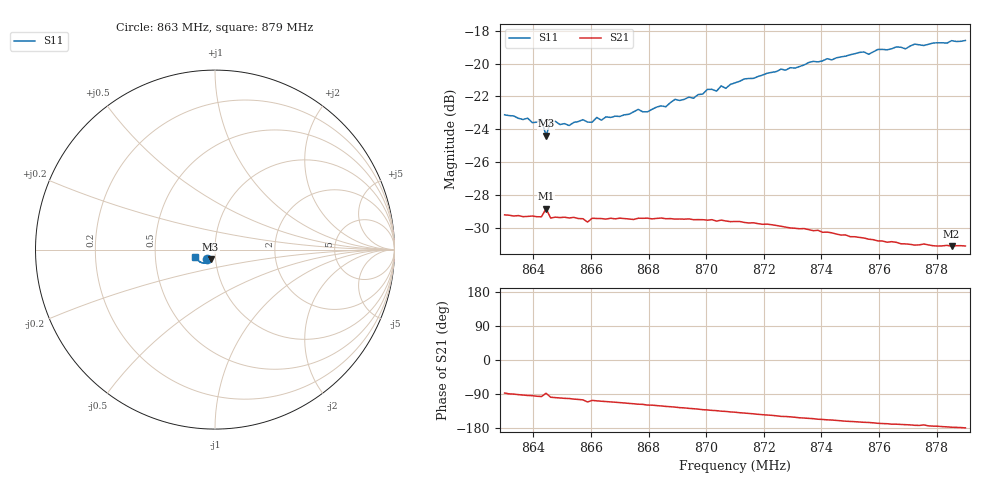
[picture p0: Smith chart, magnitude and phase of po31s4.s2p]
# HZ S RI R 50
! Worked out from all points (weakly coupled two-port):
!   101 points, 863 MHz to 879 MHz, reference 50 ohm
!   highest |S21| = -28.85 dB at 864.44 MHz (marker M1); lowest = -31.1 dB at 878.52 MHz (marker M2)
!   lowest |S11| = -24.4 dB at 864.44 MHz (marker M3), VSWR 1.13, Z = 47.3 - j5.22 ohm
!   |S11| at or under -10 dB: start of sweep to end of sweep
!   S12 and S22 are empty: the file has one direction only
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8.63e8  -0.0437 -0.0545  0.00169 -0.0345  0 0  0 0
8.638e8  -0.0422 -0.0536  -0.00213 -0.0341  0 0  0 0
8.6396e8  -0.0401 -0.0526  -0.00245 -0.0342  0 0  0 0
8.6428e8  -0.0392 -0.055  -0.00378 -0.0339  0 0  0 0
8.6444e8  -0.0247 -0.055  0.00138 -0.0361  0 0  0 0
8.646e8  -0.0378 -0.0549  -0.00487 -0.0335  0 0  0 0
8.6524e8  -0.0354 -0.0542  -0.00681 -0.0331  0 0  0 0
8.6572e8  -0.0359 -0.0571  -0.00881 -0.0325  0 0  0 0
8.6588e8  -0.0346 -0.0566  -0.0116 -0.0307  0 0  0 0
8.6604e8  -0.0348 -0.0564  -0.00965 -0.0324  0 0  0 0
8.662e8  -0.036 -0.0583  -0.0103 -0.0321  0 0  0 0
8.6636e8  -0.0352 -0.0573  -0.0109 -0.0319  0 0  0 0
8.6764e8  -0.0357 -0.0631  -0.0151 -0.0302  0 0  0 0
8.6796e8  -0.0345 -0.0624  -0.0163 -0.0296  0 0  0 0
8.6844e8  -0.0355 -0.0653  -0.0176 -0.0289  0 0  0 0
8.7004e8  -0.0421 -0.0721  -0.0222 -0.0248  0 0  0 0
8.7068e8  -0.0441 -0.0716  -0.0237 -0.0231  0 0  0 0
8.71e8  -0.047 -0.0737  -0.0244 -0.0222  0 0  0 0
8.7372e8  -0.0678 -0.0757  -0.028 -0.0132  0 0  0 0
8.7644e8  -0.0922 -0.0619  -0.0281 -0.00533  0 0  0 0
8.7852e8  -0.1081 -0.0463  -0.0277 -0.00124  0 0  0 0
8.79e8  -0.1106 -0.0403  -0.0278 -0.000431  0 0  0 0
